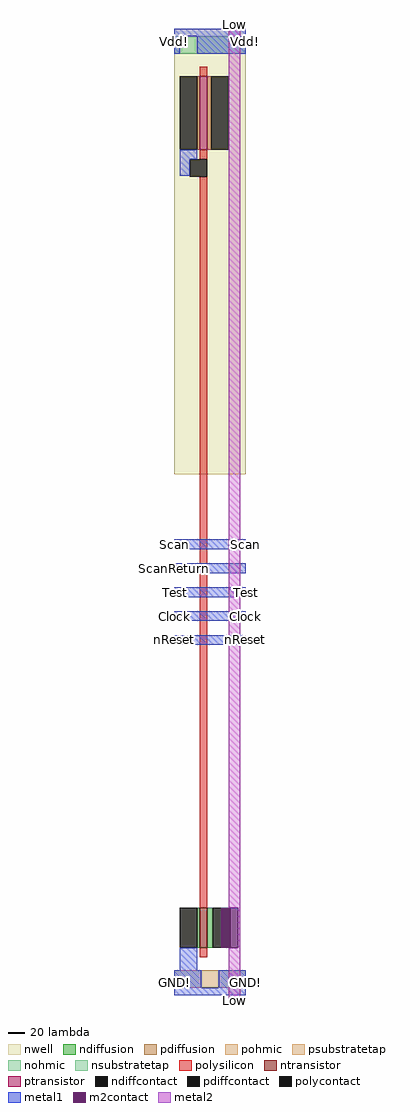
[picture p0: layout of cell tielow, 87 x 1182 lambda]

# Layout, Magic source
magic
tech tsmc180
<< nwell >>
rect 0 637 87 1176
<< polysilicon >>
rect 31 1119 40 1130
rect 31 1018 40 1030
rect 31 112 40 997
rect 31 52 40 63
<< ndiffusion >>
rect 28 63 31 112
rect 40 63 47 112
<< pdiffusion >>
rect 28 1030 31 1119
rect 40 1030 45 1119
<< pohmic >>
rect 0 15 33 36
rect 54 15 87 36
<< nohmic >>
rect 0 1146 7 1167
rect 28 1146 87 1167
<< ntransistor >>
rect 31 63 40 112
<< ptransistor >>
rect 31 1030 40 1119
<< polycontact >>
rect 19 997 40 1018
<< ndiffcontact >>
rect 7 63 28 112
rect 47 63 68 112
<< pdiffcontact >>
rect 7 1030 28 1119
rect 45 1030 66 1119
<< psubstratetap >>
rect 33 15 54 36
<< nsubstratetap >>
rect 7 1146 28 1167
<< metal1 >>
rect 0 1167 87 1176
rect 0 1146 7 1167
rect 28 1146 87 1167
rect 7 1018 28 1030
rect 7 998 19 1018
rect 0 546 87 558
rect 0 517 87 529
rect 0 488 87 500
rect 0 459 87 471
rect 0 430 87 442
rect 7 36 28 63
rect 0 15 33 36
rect 54 15 87 36
rect 0 6 87 15
<< m2contact >>
rect 57 63 68 112
rect 68 63 78 112
<< metal2 >>
rect 66 112 80 1182
rect 78 63 80 112
rect 66 0 80 63
<< labels >>
rlabel metal1 0 1146 0 1176 3 Vdd!
rlabel metal1 0 546 0 558 3 Scan
rlabel metal1 0 517 0 529 3 ScanReturn
rlabel metal1 0 430 0 442 3 nReset
rlabel metal1 0 459 0 471 3 Clock
rlabel metal1 0 488 0 500 3 Test
rlabel metal1 0 6 0 36 3 GND!
rlabel metal2 66 1182 80 1182 5 Low
rlabel metal2 66 0 80 0 1 Low
rlabel metal1 87 1146 87 1176 1 Vdd!
rlabel metal1 87 546 87 558 7 Scan
rlabel metal1 87 6 87 36 7 GND!
rlabel metal1 87 517 87 529 7 ScanReturn
rlabel metal1 87 430 87 442 7 nReset
rlabel metal1 87 459 87 471 7 Clock
rlabel metal1 87 488 87 500 7 Test
<< end >>
